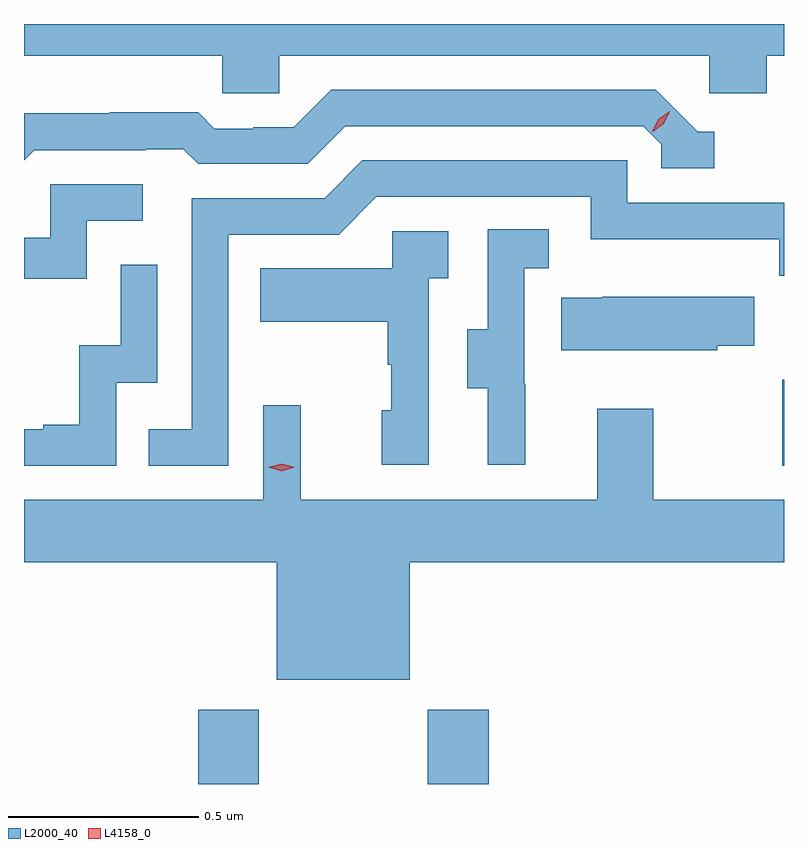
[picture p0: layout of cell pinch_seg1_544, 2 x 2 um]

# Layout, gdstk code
import gdstk
lib = gdstk.Library(unit=1e-6, precision=1e-09)
def R(c, l, rs):  # rectangles x0, y0, x1, y1
    for r in rs: c.add(gdstk.rectangle(r[:2], r[2:], *l))
def P(c, l, *ps):  # polygons
    for p in ps: c.add(gdstk.Polygon(p, *l))
L2000_40 = (2000, 40)
L4158_0 = (4158, 0)

pinch_seg1_544 = lib.new_cell('pinch_seg1_544')
R(pinch_seg1_544, L2000_40, [(1058.039,533.832,1058.199,534.028), (1058.644,533.832,1058.804,534.028), (1059.576,534.669,1059.581,534.896)])
P(pinch_seg1_544, L2000_40, [(1058.253,535.748),(1059.384,535.748),(1059.384,535.65),(1059.536,535.65),(1059.536,535.748),(1059.581,535.748),(1059.581,535.832),(1057.581,535.832),(1057.581,535.748),(1058.103,535.748),(1058.103,535.65),(1058.253,535.65)],
  [(1059.397,535.548),(1059.354,535.548),(1059.243,535.659),(1058.39,535.659),(1058.291,535.56),(1058.184,535.56),(1058.184,535.557),(1058.081,535.557),(1058.039,535.6),(1057.806,535.6),(1057.806,535.597),(1057.581,535.597),(1057.581,535.473),(1057.608,535.5),(1057.901,535.5),(1057.901,535.503),(1058,535.503),(1058.039,535.464),(1058.328,535.464),(1058.427,535.563),(1059.21,535.563),(1059.258,535.515),(1059.258,535.452),(1059.397,535.452)],
  [(1058.118,535.278),(1058.409,535.278),(1058.508,535.377),(1059.072,535.377),(1059.072,535.265),(1059.568,535.265),(1059.568,535.169),(1059.581,535.169),(1059.581,535.362),(1059.168,535.362),(1059.168,535.473),(1058.471,535.473),(1058.372,535.374),(1058.022,535.374),(1058.022,534.765),(1057.909,534.765),(1057.909,534.669),(1058.118,534.669)],
  [(1057.746,535.314),(1057.894,535.314),(1057.894,535.41),(1057.65,535.41),(1057.65,535.269),(1057.581,535.269),(1057.581,535.161),(1057.746,535.161)],
  [(1058.9,534.885),(1058.898,534.885),(1058.898,535.189),(1058.962,535.189),(1058.962,535.292),(1058.802,535.292),(1058.802,535.029),(1058.747,535.029),(1058.747,534.874),(1058.801,534.874),(1058.801,534.672),(1058.9,534.672)],
  [(1058.646,535.163),(1058.698,535.163),(1058.698,535.287),(1058.55,535.287),(1058.55,535.189),(1058.203,535.189),(1058.203,535.049),(1058.538,535.049),(1058.538,534.935),(1058.548,534.935),(1058.548,534.816),(1058.522,534.816),(1058.522,534.672),(1058.646,534.672)],
  [(1057.824,534.888),(1057.932,534.888),(1057.932,535.198),(1057.836,535.198),(1057.836,534.986),(1057.727,534.986),(1057.727,534.778),(1057.631,534.778),(1057.631,534.765),(1057.581,534.765),(1057.581,534.669),(1057.824,534.669)],
  [(1059.405,534.985),(1059.503,534.985),(1059.503,535.114),(1059.103,535.114),(1059.103,535.111),(1058.995,535.111),(1058.995,534.974),(1059.405,534.974)],
  [(1058.596,534.416),(1059.581,534.416),(1059.581,534.58),(1059.237,534.58),(1059.237,534.82),(1059.089,534.82),(1059.089,534.58),(1058.309,534.58),(1058.309,534.829),(1058.211,534.829),(1058.211,534.58),(1057.581,534.58),(1057.581,534.416),(1058.246,534.416),(1058.246,534.107),(1058.596,534.107)])
P(pinch_seg1_544, L4158_0, [(1058.259,534.655),(1058.224,534.665),(1058.224,534.665),(1058.224,534.665),(1058.259,534.675),(1058.294,534.665),(1058.294,534.665),(1058.294,534.665)],
  [(1059.234,535.549),(1059.234,535.549),(1059.25,535.582),(1059.28,535.602),(1059.28,535.602),(1059.28,535.602),(1059.265,535.569),(1059.235,535.549)])

lib.write_gds('pinch_seg1_544.gds')
